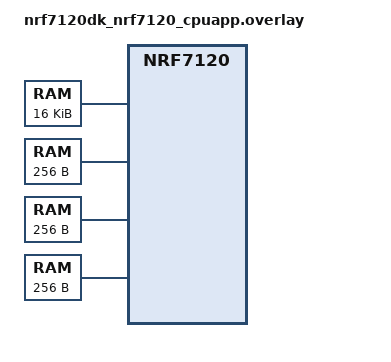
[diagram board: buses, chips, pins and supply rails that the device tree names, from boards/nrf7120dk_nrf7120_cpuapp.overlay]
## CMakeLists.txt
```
#
# Copyright (c) 2026 Nordic Semiconductor ASA
#
# SPDX-License-Identifier: LicenseRef-Nordic-5-Clause
#

cmake_minimum_required(VERSION 3.20.0)

# west build -- -Dapp_EXTRA_CONF_FILE=<path>/prj_swd_only.conf
set(NWRT_SWD_ONLY_BUILD OFF CACHE BOOL "No Wi-Fi driver; shadow protocol test only")

if(NWRT_SWD_ONLY_BUILD)
  list(APPEND EXTRA_CONF_FILE ${CMAKE_CURRENT_SOURCE_DIR}/prj_swd_only.conf)
endif()

find_package(Zephyr REQUIRED HINTS $ENV{ZEPHYR_BASE})
project(nwrt)

set(NRF71_WIFI ${ZEPHYR_NRF_MODULE_DIR}/drivers/wifi/nrf71)

# if(NOT CONFIG_NWRT_SWD_ONLY)
#   include(${WEST_TOPDIR}/test_utilities/nrf71/phy/radio_test/extn_cmds/CMakeLists.txt)
# endif()

target_include_directories(app PRIVATE include)

target_sources(app PRIVATE
  src/main.c
  src/nwrt_shadow.c
)

if(CONFIG_NWRT_SWD_ONLY)
  target_sources(app PRIVATE src/nwrt_conf_mock.c)
  target_include_directories(app PRIVATE
    ${NRF71_WIFI}/osal/os_if/inc
    ${NRF71_WIFI}/osal/fw_if/umac_if/inc
    ${NRF71_WIFI}/osal/hw_if/hal/inc
    ${NRF71_WIFI}/osal/bus_if/bal/inc
    ${NRF71_WIFI}/osal/bus_if/bus/qspi/inc
    ${NRF71_WIFI}/utils/inc
    ${NRF71_WIFI}/fw_if
    ${ZEPHYR_NRF_MODULE_DIR}/include/drivers/wifi/nrf71
  )
else()
  target_sources(app PRIVATE src/nwrt_conf.c)
  target_link_libraries(app PRIVATE
    nrf71_wifi_radio_test_headers
#    test_utilities_radio_test_extn_headers
  )
endif()
```

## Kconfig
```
# Copyright (c) 2026 Nordic Semiconductor ASA
# SPDX-License-Identifier: LicenseRef-Nordic-5-Clause

mainmenu "nWRT application"

config NWRT_SWD_ONLY
	bool "SWD-only mode (no Wi-Fi driver init)"
	help
	  Skip nRF71 Wi-Fi driver bring-up. main() runs the shadow poll loop
	  immediately so the host can exercise submit/ack/result over J-Link.
	  RF commands complete with result -19 (NODEV); invalid submits return -22.

source "Kconfig.zephyr"
```

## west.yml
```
# Copyright (c) 2026 Nordic Semiconductor ASA
# SPDX-License-Identifier: Apache-2.0

manifest:
  version: 0.13

  remotes:
    - name: ncs
      url-base: https://github.com/nrfconnect

    - name: nordic-bb
      url-base: ssh://git@bitbucket.nordicsemi.no:7999

  self:
    path: nWRT

  projects:
    - name: nrf
      remote: ncs
      repo-path: sdk-nrf
      revision: main
      import: true
```

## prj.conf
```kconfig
#
# Copyright (c) 2026 Nordic Semiconductor ASA
#
# SPDX-License-Identifier: LicenseRef-Nordic-5-Clause
#

# nRF71 Wi-Fi driver in radio-test mode
CONFIG_WIFI=y
CONFIG_WIFI_NRF71=y
CONFIG_NRF71_RADIO_TEST=y

# Memories
CONFIG_MAIN_STACK_SIZE=5200
CONFIG_HEAP_MEM_POOL_SIZE=65536
CONFIG_NRF_WIFI_CTRL_HEAP_SIZE=78304

# Debugging
CONFIG_STACK_SENTINEL=y

# No console logging (production test uses SWD shadow only)
CONFIG_LOG=n
CONFIG_PRINTK=n
```

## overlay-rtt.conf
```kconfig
#
# Copyright (c) 2026 Nordic Semiconductor ASA
#
# SPDX-License-Identifier: LicenseRef-Nordic-5-Clause
#
# Route console and logging over SEGGER RTT so logs can be read with an RTT
# client (e.g. JLinkRTTClient/JLinkRTTLogger) over the on-board J-Link,
# without attaching a debugger. Layer this on top of prj.conf:
#
#   west build -b nrf7120dk/nrf7120/cpuapp -- -DEXTRA_CONF_FILE=overlay-rtt.conf
#

# Re-enable logging and printk (prj.conf turns them off for the SWD-only test).
CONFIG_LOG=y
CONFIG_PRINTK=y
CONFIG_CONSOLE=y

# SEGGER RTT transport.
CONFIG_USE_SEGGER_RTT=y

# printk()/console output over RTT instead of UART.
CONFIG_RTT_CONSOLE=y
CONFIG_UART_CONSOLE=n

# LOG_* macros go straight to RTT via the dedicated RTT log backend, not
# through the shell. Stop the shell from claiming the log output so the two do
# not fight over it; the interactive shell stays on its default UART backend.
CONFIG_LOG_BACKEND_RTT=y
CONFIG_LOG_BACKEND_UART=n
CONFIG_SHELL_LOG_BACKEND=n

# Give RTT enough headroom so bursts of Wi-Fi/radio-test logs are not dropped.
CONFIG_SEGGER_RTT_BUFFER_SIZE_UP=4096
```

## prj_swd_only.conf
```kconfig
#
# Copyright (c) 2026 Nordic Semiconductor ASA
#
# SPDX-License-Identifier: LicenseRef-Nordic-5-Clause
#

# SWD shadow protocol test, no nRF71 Wi-Fi driver linked or initialized.
CONFIG_NWRT_SWD_ONLY=y
CONFIG_WIFI=n

CONFIG_MAIN_STACK_SIZE=4096
CONFIG_HEAP_MEM_POOL_SIZE=8192
```

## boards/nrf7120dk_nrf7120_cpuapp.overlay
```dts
/*
 * Copyright (c) 2026 Nordic Semiconductor ASA
 *
 * SPDX-License-Identifier: LicenseRef-Nordic-5-Clause
 *
 * nwrt_rx_cap @ 0x2007b000 (16 KiB).
 * Shadow blocks @ 0x2007f000, 0x2007f100, 0x2007f200 (0x100 stride each, 4 KiB area).
 */

/ {
	nwrt_rx_cap_sram: memory@2007b000 {
		compatible = "zephyr,memory-region", "mmio-sram";
		reg = <0x2007b000 DT_SIZE_K(16)>;
		zephyr,memory-region = "NWRT_RX_CAP";
		status = "okay";
	};

	nwrt_shadow_common_sram: memory@2007f000 {
		compatible = "zephyr,memory-region", "mmio-sram";
		reg = <0x2007f000 0x100>;
		zephyr,memory-region = "NWRT_SHADOW_COMMON";
		status = "okay";
	};

	nwrt_shadow_tx_sram: memory@2007f100 {
		compatible = "zephyr,memory-region", "mmio-sram";
		reg = <0x2007f100 0x100>;
		zephyr,memory-region = "NWRT_SHADOW_TX";
		status = "okay";
	};

	nwrt_shadow_rx_sram: memory@2007f200 {
		compatible = "zephyr,memory-region", "mmio-sram";
		reg = <0x2007f200 0x100>;
		zephyr,memory-region = "NWRT_SHADOW_RX";
		status = "okay";
	};
};

&cpuapp_sram {
	reg = <0x20000000 DT_SIZE_K(492)>;
	ranges = <0x0 0x20000000 DT_SIZE_K(492)>;
};
```

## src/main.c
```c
/*
 * Copyright (c) 2026 Nordic Semiconductor ASA
 *
 * SPDX-License-Identifier: LicenseRef-Nordic-5-Clause
 */

/* @file
 * @brief nWRT - Wi-Fi radio test with SWD shadow control.
 *
 * The nRF71 Wi-Fi driver brings up FMAC/RPU at init. This app polls nwrt_shadow
 * from main (including while waiting for rpu_ctx). Host writes params + submit
 * (pending low 16 bits; optional seq high 16 bits for lab debug); firmware
 * applies and runs FMAC calls when RPU is ready.
 */

#include <nwrt_conf.h>
#include <nwrt_shadow.h>
#include <zephyr/kernel.h>

#define NWRT_RPU_READY_TIMEOUT_MS 30000

#if !defined(CONFIG_NWRT_SWD_ONLY)
static void nwrt_wait_rpu_ready(void)
{
    int64_t deadline = k_uptime_get() + NWRT_RPU_READY_TIMEOUT_MS;

    while (k_uptime_get() < deadline)
    {
        nwrt_shadow_poll();

        if (nwrt_fmac_dev_ctx() != NULL)
        {
            return;
        }

        k_msleep(10);
    }
}
#endif /* !CONFIG_NWRT_SWD_ONLY */

int main(void)
{
    /* Shadow is initialized at PRE_KERNEL_2; re-init here would race the poll
     * in nwrt_wait_rpu_ready() and drop an early host command.
     */
#if !defined(CONFIG_NWRT_SWD_ONLY)
    nwrt_wait_rpu_ready();
#endif

    for (;;)
    {
        nwrt_shadow_poll();
    }
}
```

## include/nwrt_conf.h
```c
/*
 * Copyright (c) 2026 Nordic Semiconductor ASA
 *
 * SPDX-License-Identifier: LicenseRef-Nordic-5-Clause
 */

/**
 * @file nwrt_conf.h
 * @brief Driver conf access and FMAC wrappers for nRF71 radio-test.
 *
 * Live configuration and driver context come from the Zephyr nRF71 radio-test
 * driver (@c rt_drv_priv). Shadow handlers copy host-written params here, then call
 * the @c nwrt_wifi_rt_fmac_* wrappers below.
 */

#ifndef NWRT_CONF_H__
#define NWRT_CONF_H__

#include <radio_test/fmac_api.h>
#include <radio_test/fmac_structs.h>
#include <stdbool.h>
#include <stdint.h>

#if defined(CONFIG_NWRT_SWD_ONLY)
#include <zephyr/kernel.h>

struct nrf_wifi_fmac_dev_ctx;

/** Minimal context for SWD-only builds (no nRF71 Wi-Fi driver). */
struct nrf_wifi_ctx_zep
{
    struct rpu_conf_params conf_params;
    bool                   rf_test_run;
    unsigned char          rf_test;
    struct k_mutex         rpu_lock;
};
#else
#include <radio_test/core.h>
#endif /* CONFIG_NWRT_SWD_ONLY */

/**
 * @brief Pointer to live radio-test configuration in the Wi-Fi driver.
 *
 * @return Address of @c rt_drv_priv.drv_ctx.conf_params.
 */
struct rpu_conf_params * nwrt_conf_params(void);

/**
 * @brief Pointer to the FMAC device context, or @c NULL before RPU bring-up.
 *
 * @return @c rpu_ctx from the Zephyr Wi-Fi driver, or @c NULL if not ready.
 */
struct nrf_wifi_fmac_dev_ctx * nwrt_fmac_dev_ctx(void);

/**
 * @brief Pointer to the Zephyr Wi-Fi driver context (includes RPU mutex).
 *
 * @return Address of @c rt_drv_priv.drv_ctx.
 */
#if defined(CONFIG_NWRT_SWD_ONLY)
struct nrf_wifi_ctx_zep * nwrt_wifi_ctx(void);
#else
struct nrf_wifi_rt_drv_ctx * nwrt_wifi_ctx(void);
#endif

/**
 * @brief Reset @c rpu_conf_params to radio-test defaults.
 *
 * Sets @c op_mode to @c RPU_OP_MODE_RADIO_TEST, loads RF/VTF addresses from FMAC,
 * and applies factory-style TX/RX defaults. Preserves country code if already set.
 *
 * @return @c NRF_WIFI_STATUS_SUCCESS on success.
 */
enum nrf_wifi_status nwrt_conf_init_defaults(void);

/**
 * @brief Initialize RF test mode on the given band and channel.
 *
 * Calls @ref nwrt_conf_init_defaults(), sets @c chan from @p band_idx and
 * @p channel, then invokes @c nrf_wifi_rt_fmac_radio_test_init().
 *
 * @param band_idx Band index: @c 0 = 2.4 GHz, @c 1 = 5 GHz, @c 2 = 6 GHz
 *                 (@c op_band = @c 1 << band_idx).
 * @param channel  Primary channel number valid for the selected band.
 *
 * @return @c NRF_WIFI_STATUS_SUCCESS on success.
 */
enum nrf_wifi_status nwrt_radio_test_init(uint8_t band_idx, uint32_t channel);

/**
 * @brief Check whether no RF test operation is currently active.
 *
 * @return @c true if TX, RX, and @c rf_test_run are all idle; @c false otherwise.
 */
bool nwrt_conf_idle(void);

/**
 * @brief Start or stop programmed packet TX (FMAC radio-test API).
 *
 * @param fmac_dev_ctx FMAC device context.
 * @param params       Radio-test configuration (@ref nwrt_conf_params()).
 *
 * @return @c NRF_WIFI_STATUS_SUCCESS on success.
 */
enum nrf_wifi_status nwrt_wifi_rt_fmac_prog_tx(struct nrf_wifi_fmac_dev_ctx * fmac_dev_ctx,
                                               struct rpu_conf_params *       params);

/**
 * @brief Start or stop programmed RX (FMAC radio-test API).
 *
 * @param fmac_dev_ctx FMAC device context.
 * @param params       Radio-test configuration (@ref nwrt_conf_params()).
 *
 * @return @c NRF_WIFI_STATUS_SUCCESS on success.
 */
enum nrf_wifi_status nwrt_wifi_rt_fmac_prog_rx(struct nrf_wifi_fmac_dev_ctx * fmac_dev_ctx,
                                               struct rpu_conf_params *       params);

/**
 * @brief Run an RX capture into a host-visible buffer (FMAC radio-test API).
 *
 * @param fmac_dev_ctx   FMAC device context.
 * @param rf_test_type   Capture type (@c enum nrf_wifi_rf_test).
 * @param cap_data       Sample buffer (e.g. @ref nwrt_rx_cap_buf).
 * @param num_samples    Number of samples to capture.
 * @param capture_timeout Capture timeout (driver units).
 * @param lna_gain       LNA gain.
 * @param bb_gain        Baseband gain.
 * @param timeout_status Output: driver timeout status byte.
 *
 * @return @c NRF_WIFI_STATUS_SUCCESS on success.
 */
enum nrf_wifi_status nwrt_wifi_rt_fmac_rf_test_rx_cap(struct nrf_wifi_fmac_dev_ctx * fmac_dev_ctx,
                                                      enum nrf_wifi_rf_test          rf_test_type,
                                                      void * cap_data, uint16_t num_samples,
                                                      uint16_t capture_timeout, uint8_t lna_gain,
                                                      uint8_t bb_gain, uint8_t * timeout_status);

/**
 * @brief Enable or disable CW tone TX (FMAC radio-test API).
 *
 * @param fmac_dev_ctx FMAC device context.
 * @param enable       @c 1 to enable tone, @c 0 to disable.
 * @param tone_freq    Tone frequency offset.
 * @param tx_power     TX power for the tone.
 *
 * @return @c NRF_WIFI_STATUS_SUCCESS on success.
 */
enum nrf_wifi_status nwrt_wifi_rt_fmac_rf_test_tx_tone(struct nrf_wifi_fmac_dev_ctx * fmac_dev_ctx,
                                                       uint8_t enable, int8_t tone_freq,
                                                       int8_t tx_power);

/**
 * @brief Read RX/TX statistics for the current RF test session (FMAC API).
 *
 * @param fmac_dev_ctx FMAC device context.
 * @param op_mode      RPU operation mode (typically @c RPU_OP_MODE_RADIO_TEST).
 * @param stats        Output statistics structure.
 *
 * @return @c NRF_WIFI_STATUS_SUCCESS on success.
 */
enum nrf_wifi_status nwrt_wifi_rt_fmac_stats_get(struct nrf_wifi_fmac_dev_ctx * fmac_dev_ctx,
                                                 enum rpu_op_mode               op_mode,
                                                 struct rpu_rt_op_stats *       stats);

#endif /* NWRT_CONF_H__ */
```

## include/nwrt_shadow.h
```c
/*
 * Copyright (c) 2026 Nordic Semiconductor ASA
 *
 * SPDX-License-Identifier: LicenseRef-Nordic-5-Clause
 */

/**
 * @file nwrt_shadow.h
 * @brief SWD host control: common, TX, and RX blocks at fixed DT addresses.
 *
 * Three shadow blocks plus an RX capture buffer are placed in devicetree-reserved
 * SRAM. The host writes 32-bit words over SWD, then writes @c submit (packed
 * @c pending + @c seq). Firmware polls from @ref nwrt_shadow_poll(),
 * executes the request, and writes @c result and @c ack.
 *
 * Submit layout (v8): @c pending in bits [15:0], @c seq in bits [31:16].
 *
 * Runtime host modes (same firmware image):
 * - ATE: write @c pending only (seq=0), poll @c submit until 0 or @c result until
 *   not @ref NWRT_SHADOW_RESULT_RUNNING.
 * - Lab: write @c seq << 16 | pending, poll @c ack == seq, read @c result.
 *
 * Absolute field addresses: README-SWD.md.
 */

#ifndef NWRT_SHADOW_H__
#define NWRT_SHADOW_H__

#include <radio_test/fmac_structs.h>
#include <stdint.h>

#if defined(__ZEPHYR__)
#include <zephyr/devicetree.h>

///< Common block base (DT).
#define NWRT_SHADOW_COMMON_BASE DT_REG_ADDR(DT_NODELABEL(nwrt_shadow_common_sram))
#define NWRT_SHADOW_TX_BASE     DT_REG_ADDR(DT_NODELABEL(nwrt_shadow_tx_sram)) ///< TX block base (DT).
#define NWRT_SHADOW_RX_BASE     DT_REG_ADDR(DT_NODELABEL(nwrt_shadow_rx_sram)) ///< RX block base (DT).
///< RX capture buffer base (DT).
#define NWRT_RX_CAP_BASE DT_REG_ADDR(DT_NODELABEL(nwrt_rx_cap_sram))
///< RX capture buffer size in bytes (DT).
#define NWRT_RX_CAP_SIZE DT_REG_SIZE(DT_NODELABEL(nwrt_rx_cap_sram))
#else
#define NWRT_SHADOW_COMMON_BASE 0x2007f000U   ///< Common block base (nrf7120dk default).
#define NWRT_SHADOW_TX_BASE     0x2007f100U   ///< TX block base (nrf7120dk default).
#define NWRT_SHADOW_RX_BASE     0x2007f200U   ///< RX block base (nrf7120dk default).
#define NWRT_RX_CAP_BASE        0x2007b000U   ///< RX capture buffer base (nrf7120dk default).
#define NWRT_RX_CAP_SIZE        (16U * 1024U) ///< RX capture buffer size in bytes (default).
#endif

///< Size of each shadow block slot in SRAM.
#define NWRT_SHADOW_BLOCK_SIZE 0x100U
///< Max capture samples (3 bytes per sample).
#define NWRT_RX_CAP_MAX_SAMPLES (NWRT_RX_CAP_SIZE / 3U)

#define NWRT_SHADOW_MAGIC   0x4e575254U ///< Shadow layout magic word ("NWRT").
#define NWRT_SHADOW_VERSION 8U          ///< Shadow protocol version; must match common.version.

#define NWRT_SHADOW_ERR_INVAL (-22) ///< result: invalid request, bad magic/version, or bad params.
#define NWRT_SHADOW_ERR_BUSY  (-16) ///< result: RF test path busy (TX/RX/tone/capture active).
#define NWRT_SHADOW_ERR_NODEV (-19) ///< result: FMAC/RPU device context not ready.
#define NWRT_SHADOW_ERR_IO    (-5)  ///< result: FMAC or driver call failed.

/** result: command accepted and still running (ATE poll until not this value). */
#define NWRT_SHADOW_RESULT_RUNNING (-256)

///< Low 16 bits of @c submit: @c NWRT_*_PENDING_* flags.
#define NWRT_SHADOW_SUBMIT_PENDING_MASK 0xFFFFU
///< Bit shift of @c seq in @c submit.
#define NWRT_SHADOW_SUBMIT_SEQ_SHIFT 16U

/** Pack pending flags and seq into one @c submit word (host writes once). */
#define NWRT_SHADOW_SUBMIT_MAKE(pending, seq)                                 \
    (((uint32_t)(pending) & NWRT_SHADOW_SUBMIT_PENDING_MASK) |                \
     (((uint32_t)(seq) & 0xFFFFU) << NWRT_SHADOW_SUBMIT_SEQ_SHIFT))

/** Pending flags from @c submit (low 16 bits). */
#define NWRT_SHADOW_SUBMIT_PENDING(submit) \
    ((uint32_t)(submit) & NWRT_SHADOW_SUBMIT_PENDING_MASK)

/** Seq from @c submit (high 16 bits). Zero selects ATE-style auto-seq. */
#define NWRT_SHADOW_SUBMIT_SEQ(submit) \
    (((uint32_t)(submit) >> NWRT_SHADOW_SUBMIT_SEQ_SHIFT) & 0xFFFFU)

/** @name Common block pending flags (low 16 bits of submit) @{ */
///< Load default rpu_conf_params (no radio test init).
#define NWRT_COMMON_PENDING_CONF_INIT  (1U << 0)
#define NWRT_COMMON_PENDING_RADIO_INIT (1U << 1) ///< Enter RF test mode on band_idx / channel.
/** @} */

/** @name TX block pending flags (low 16 bits of submit) @{ */
#define NWRT_TX_PENDING_APPLY (1U << 0) ///< Copy shadow TX params into live rpu_conf_params.
#define NWRT_TX_PENDING_PROG  (1U << 1) ///< Start or stop packet TX (enable_tx).
#define NWRT_TX_PENDING_TONE  (1U << 2) ///< Start or stop CW tone TX (tx_tone, tx_tone_freq).
/** @} */

/** @name RX block pending flags (low 16 bits of submit) @{ */
#define NWRT_RX_PENDING_APPLY  (1U << 0) ///< Copy shadow RX params into live rpu_conf_params.
#define NWRT_RX_PENDING_PROG   (1U << 1) ///< Start or stop RX (enable_rx).
#define NWRT_RX_PENDING_STATS  (1U << 2) ///< Fetch RX statistics into nwrt_shadow_stats.
#define NWRT_RX_PENDING_RX_CAP (1U << 3) ///< Run RX capture into nwrt_rx_cap_buf.
/** @} */

/** @name RX capture type (nwrt_shadow_rx.rx_cap_type; enum nrf_wifi_rf_test) @{ */
#define NWRT_RX_CAP_TYPE_ADC      0U ///< ADC capture.
#define NWRT_RX_CAP_TYPE_STAT_PKT 1U ///< Static packet capture.
#define NWRT_RX_CAP_TYPE_DYN_PKT  2U ///< Dynamic packet capture.

/** @} */

/**
 * @brief Common shadow block: layout header, control words, and radio-init params.
 *
 * Mapped at @ref NWRT_SHADOW_COMMON_BASE.
 */
struct nwrt_shadow_common
{
    uint32_t magic;    ///< Must be @ref NWRT_SHADOW_MAGIC.
    uint32_t version;  ///< Must be @ref NWRT_SHADOW_VERSION.
    uint32_t submit;   ///< Packed pending (low 16) + seq (high 16); cleared to 0 when done.
    int32_t  result;   ///< 0 on success, @ref NWRT_SHADOW_RESULT_RUNNING while busy, else error.
    uint32_t ack;      ///< Last processed seq (lab debug: poll until ack == seq from submit).
    uint32_t band_idx; ///< For RADIO_INIT: 0 = 2.4 GHz, 1 = 5 GHz, 2 = 6 GHz.
    uint32_t channel;  ///< Primary channel number for RADIO_INIT.
};

/**
 * @brief TX shadow block: control words and packet/tone TX parameters.
 *
 * Mapped at @ref NWRT_SHADOW_TX_BASE.
 */
struct nwrt_shadow_tx
{
    uint32_t submit;           ///< Packed pending (low 16) + seq (high 16).
    int32_t  result;           ///< Completion status (see nwrt_shadow_common.result).
    uint32_t ack;              ///< Last processed seq.
    uint32_t tx_power;         ///< TX power (driver units; applied on APPLY).
    int32_t  tx_tone_freq;     ///< CW tone frequency offset.
    uint32_t tx_pkt_len;       ///< Packet length in bytes.
    int32_t  tx_pkt_num;       ///< Number of packets; -1 for continuous.
    int32_t  tx_pkt_mcs;       ///< MCS index for packet TX.
    int32_t  tx_pkt_rate;      ///< Legacy rate index for packet TX.
    uint32_t tx_pkt_tput_mode; ///< Throughput test mode selector.
    uint32_t enable_tx;        ///< 1 to start packet TX, 0 to stop (PROG pending).
    uint32_t tx_tone;          ///< 1 to enable CW tone, 0 to disable (TONE pending).
};

/**
 * @brief RX shadow block: control words, capture params, and readback fields.
 *
 * Mapped at @ref NWRT_SHADOW_RX_BASE. Capture samples land in @ref nwrt_rx_cap_buf.
 */
struct nwrt_shadow_rx
{
    uint32_t submit;             ///< Packed pending (low 16) + seq (high 16).
    int32_t  result;             ///< Completion status (see nwrt_shadow_common.result).
    uint32_t ack;                ///< Last processed seq.
    uint32_t cap_timeout_status; ///< Set after RX_CAP (driver timeout status).
    uint32_t lna_gain;           ///< LNA gain for RX capture.
    uint32_t bb_gain;            ///< Baseband gain for RX capture.
    uint32_t capture_length;     ///< Sample count to capture (@ref NWRT_RX_CAP_MAX_SAMPLES max).
    uint32_t capture_timeout;    ///< Capture timeout in driver units.
    uint32_t enable_rx;          ///< 1 to start RX, 0 to stop (PROG pending).
    uint32_t rx_cap_type;        ///< @ref NWRT_RX_CAP_TYPE_ADC, STAT_PKT, or DYN_PKT.
};

/** Common shadow instance in DT-reserved SRAM (@ref NWRT_SHADOW_COMMON_BASE). */
extern struct nwrt_shadow_common nwrt_shadow_common;
/** TX shadow instance in DT-reserved SRAM (@ref NWRT_SHADOW_TX_BASE). */
extern struct nwrt_shadow_tx nwrt_shadow_tx;
/** RX shadow instance in DT-reserved SRAM (@ref NWRT_SHADOW_RX_BASE). */
extern struct nwrt_shadow_rx nwrt_shadow_rx;
/** RX statistics buffer filled by @ref NWRT_RX_PENDING_STATS. */
extern struct rpu_rt_op_stats nwrt_shadow_stats;
/** RX capture sample buffer (@ref NWRT_RX_CAP_BASE, @ref NWRT_RX_CAP_SIZE bytes). */
extern uint8_t nwrt_rx_cap_buf[NWRT_RX_CAP_SIZE];

/**
 * @brief Initialize all shadow blocks and capture buffer defaults.
 *
 * Clears structures, fills param defaults, sets @c magic and @c version on common.
 * Called once at @c PRE_KERNEL_2 (see @c nwrt_shadow_boot_init), before @c main()
 * starts polling. Does not touch the Wi-Fi driver.
 */
void nwrt_shadow_init(void);

/**
 * @brief Process pending host requests on common, TX, and RX blocks.
 *
 * Call from the main loop after RPU/FMAC is ready. For each block with a new
 * @c submit, runs the pending handlers, clears @c submit to 0, and updates
 * @c result and @c ack.
 */
void nwrt_shadow_poll(void);

#endif /* NWRT_SHADOW_H__ */
```

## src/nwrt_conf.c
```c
/*
 * Copyright (c) 2026 Nordic Semiconductor ASA
 *
 * SPDX-License-Identifier: LicenseRef-Nordic-5-Clause
 */

#include <common/fw_if/nrf71_wifi_rf.h>
#include <nwrt_conf.h>
#include <string.h>

enum nrf_wifi_status nwrt_conf_init_defaults(void)
{
    enum nrf_wifi_status           status                                  = NRF_WIFI_STATUS_FAIL;
    struct rpu_conf_params *       conf                                    = nwrt_conf_params();
    struct nrf_wifi_fmac_dev_ctx * dev                                     = nwrt_fmac_dev_ctx();
    uint8_t                        country_code[NRF_WIFI_COUNTRY_CODE_LEN] = {0};

    if (dev == NULL)
    {
        return NRF_WIFI_STATUS_FAIL;
    }

    if (strlen(conf->country_code))
    {
        memcpy(country_code, conf->country_code, NRF_WIFI_COUNTRY_CODE_LEN);
    }

    memset(conf, 0, sizeof(*conf));

    conf->op_mode = RPU_OP_MODE_RADIO_TEST;

    {
        uint32_t rf_params_tmp[NUM_WIFI_PARAMS];
        uint32_t vtf_addr_tmp;

        status = nrf_wifi_fmac_config_rf_params(dev, (unsigned int *)rf_params_tmp);
        if (status != NRF_WIFI_STATUS_SUCCESS)
        {
            goto out;
        }

        memcpy(conf->rf_params_addr, rf_params_tmp, sizeof(conf->rf_params_addr));

        status = nrf_wifi_fmac_config_vtf_params(dev, 243, 25, 0, (unsigned int *)&vtf_addr_tmp);
        if (status != NRF_WIFI_STATUS_SUCCESS)
        {
            goto out;
        }

        conf->vtf_buffer_addr = vtf_addr_tmp;
    }

    conf->tx_pkt_nss             = 1;
    conf->tx_pkt_gap_us          = 0;
    conf->tx_power               = MAX_TX_PWR_SYS_TEST;
    conf->chan.primary_num       = 1;
    conf->tx_mode                = 1;
    conf->tx_pkt_num             = -1;
    conf->tx_pkt_len             = 1400;
    conf->tx_pkt_preamble        = 0;
    conf->tx_pkt_rate            = 6;
    conf->he_ltf                 = 2;
    conf->he_gi                  = 2;
    conf->aux_adc_input_chain_id = 1;
    conf->ru_tone                = 26;
    conf->ru_index               = 1;
    conf->tx_pkt_cw              = 15;
    conf->phy_calib              = NRF_WIFI_DEF_PHY_CALIB;

    if (strlen(country_code))
    {
        memcpy(conf->country_code, country_code, NRF_WIFI_COUNTRY_CODE_LEN);
    }
    else
    {
        memcpy(conf->country_code, "00", NRF_WIFI_COUNTRY_CODE_LEN);
    }

out:
    return status;
}

enum nrf_wifi_status nwrt_radio_test_init(uint8_t band_idx, uint32_t channel)
{
    enum nrf_wifi_status           status;
    struct rpu_conf_params *       conf = nwrt_conf_params();
    struct nrf_wifi_fmac_dev_ctx * dev  = nwrt_fmac_dev_ctx();

    if (dev == NULL)
    {
        return NRF_WIFI_STATUS_FAIL;
    }

    status = nwrt_conf_init_defaults();
    if (status != NRF_WIFI_STATUS_SUCCESS)
    {
        return status;
    }

    conf->chan.op_band     = (unsigned char)(1U << band_idx);
    conf->chan.primary_num = (unsigned int)channel;

    return nrf_wifi_rt_fmac_radio_test_init(dev, conf);
}

struct rpu_conf_params * nwrt_conf_params(void)
{
    return &rt_drv_priv.drv_ctx.conf_params;
}

struct nrf_wifi_fmac_dev_ctx * nwrt_fmac_dev_ctx(void)
{
    return rt_drv_priv.drv_ctx.rpu_ctx;
}

struct nrf_wifi_rt_drv_ctx * nwrt_wifi_ctx(void)
{
    return &rt_drv_priv.drv_ctx;
}

bool nwrt_conf_idle(void)
{
    struct nrf_wifi_rt_drv_ctx * ctx = nwrt_wifi_ctx();

    if (ctx->conf_params.rx || ctx->conf_params.tx || ctx->rf_test_run)
    {
        return false;
    }

    return true;
}

enum nrf_wifi_status nwrt_wifi_rt_fmac_prog_tx(struct nrf_wifi_fmac_dev_ctx * fmac_dev_ctx,
                                               struct rpu_conf_params *       params)
{
    return nrf_wifi_rt_fmac_prog_tx(fmac_dev_ctx, params);
}

enum nrf_wifi_status nwrt_wifi_rt_fmac_prog_rx(struct nrf_wifi_fmac_dev_ctx * fmac_dev_ctx,
                                               struct rpu_conf_params *       params)
{
    return nrf_wifi_rt_fmac_prog_rx(fmac_dev_ctx, params);
}

enum nrf_wifi_status nwrt_wifi_rt_fmac_rf_test_rx_cap(struct nrf_wifi_fmac_dev_ctx * fmac_dev_ctx,
                                                      enum nrf_wifi_rf_test          rf_test_type,
                                                      void * cap_data, uint16_t num_samples,
                                                      uint16_t capture_timeout, uint8_t lna_gain,
                                                      uint8_t bb_gain, uint8_t * timeout_status)
{
    struct rpu_conf_params * conf = nwrt_conf_params();

    return nrf_wifi_rt_fmac_rf_test_rx_cap(fmac_dev_ctx, rf_test_type, cap_data, num_samples,
                                           capture_timeout, lna_gain, bb_gain,
                                           conf->ed_thresh_ofdm, conf->ed_thresh_dsss,
                                           timeout_status);
}

enum nrf_wifi_status nwrt_wifi_rt_fmac_rf_test_tx_tone(struct nrf_wifi_fmac_dev_ctx * fmac_dev_ctx,
                                                       uint8_t enable, int8_t tone_freq,
                                                       int8_t tx_power)
{
    struct rpu_conf_params * conf = nwrt_conf_params();

    return nrf_wifi_rt_fmac_rf_test_tx_tone(fmac_dev_ctx, enable, tone_freq, tx_power,
                                            conf->tx_tone_type, conf->tx_tone_dc_offset_i,
                                            conf->tx_tone_dc_offset_q);
}

enum nrf_wifi_status nwrt_wifi_rt_fmac_stats_get(struct nrf_wifi_fmac_dev_ctx * fmac_dev_ctx,
                                                 enum rpu_op_mode               op_mode,
                                                 struct rpu_rt_op_stats *       stats)
{
    return nrf_wifi_rt_fmac_stats_get(fmac_dev_ctx, op_mode, stats);
}
```

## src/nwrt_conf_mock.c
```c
/*
 * Copyright (c) 2026 Nordic Semiconductor ASA
 *
 * SPDX-License-Identifier: LicenseRef-Nordic-5-Clause
 */

/* @file
 * @brief SWD-only mock of nwrt_conf.c (CONFIG_NWRT_SWD_ONLY).
 *
 * Provides the same nwrt_conf_* / nwrt_wifi_rt_fmac_* API as nwrt_conf.c but
 * without linking the nRF71 Wi-Fi driver (CONFIG_WIFI=n). Shadow handlers in
 * nwrt_shadow.c stay unchanged; shadow writes via nwrt_conf_params() into a
 * local rpu_conf_params, FMAC calls return FAIL, and nwrt_fmac_dev_ctx() is NULL
 * so radio commands surface -19 (NODEV).
 *
 * Build with prj_swd_only.conf (see README-SWD.md).
 */

#include <nwrt_conf.h>
#include <string.h>
#include <zephyr/init.h>
#include <zephyr/kernel.h>

static struct nrf_wifi_ctx_zep nwrt_mock_ctx;

static enum nrf_wifi_status nwrt_mock_fail(void)
{
    return NRF_WIFI_STATUS_FAIL;
}

enum nrf_wifi_status nwrt_conf_init_defaults(void)
{
    memset(&nwrt_mock_ctx.conf_params, 0, sizeof(nwrt_mock_ctx.conf_params));
    nwrt_mock_ctx.conf_params.op_mode = RPU_OP_MODE_RADIO_TEST;
    memcpy(nwrt_mock_ctx.conf_params.country_code, "00", NRF_WIFI_COUNTRY_CODE_LEN);
    return NRF_WIFI_STATUS_SUCCESS;
}

enum nrf_wifi_status nwrt_radio_test_init(uint8_t band_idx, uint32_t channel)
{
    ARG_UNUSED(band_idx);
    ARG_UNUSED(channel);
    return nwrt_mock_fail();
}

struct rpu_conf_params * nwrt_conf_params(void)
{
    return &nwrt_mock_ctx.conf_params;
}

struct nrf_wifi_fmac_dev_ctx * nwrt_fmac_dev_ctx(void)
{
    return NULL;
}

struct nrf_wifi_ctx_zep * nwrt_wifi_ctx(void)
{
    return &nwrt_mock_ctx;
}

bool nwrt_conf_idle(void)
{
    return true;
}

enum nrf_wifi_status nwrt_wifi_rt_fmac_prog_tx(struct nrf_wifi_fmac_dev_ctx * fmac_dev_ctx,
                                               struct rpu_conf_params *       params)
{
    ARG_UNUSED(fmac_dev_ctx);
    ARG_UNUSED(params);
    return nwrt_mock_fail();
}

enum nrf_wifi_status nwrt_wifi_rt_fmac_prog_rx(struct nrf_wifi_fmac_dev_ctx * fmac_dev_ctx,
                                               struct rpu_conf_params *       params)
{
    ARG_UNUSED(fmac_dev_ctx);
    ARG_UNUSED(params);
    return nwrt_mock_fail();
}

enum nrf_wifi_status nwrt_wifi_rt_fmac_rf_test_rx_cap(struct nrf_wifi_fmac_dev_ctx * fmac_dev_ctx,
                                                      enum nrf_wifi_rf_test          rf_test_type,
                                                      void * cap_data, uint16_t num_samples,
                                                      uint16_t capture_timeout, uint8_t lna_gain,
                                                      uint8_t bb_gain, uint8_t * timeout_status)
{
    ARG_UNUSED(fmac_dev_ctx);
    ARG_UNUSED(rf_test_type);
    ARG_UNUSED(cap_data);
    ARG_UNUSED(num_samples);
    ARG_UNUSED(capture_timeout);
    ARG_UNUSED(lna_gain);
    ARG_UNUSED(bb_gain);
    ARG_UNUSED(timeout_status);
    return nwrt_mock_fail();
}

enum nrf_wifi_status nwrt_wifi_rt_fmac_rf_test_tx_tone(struct nrf_wifi_fmac_dev_ctx * fmac_dev_ctx,
                                                       uint8_t enable, int8_t tone_freq,
                                                       int8_t tx_power)
{
    ARG_UNUSED(fmac_dev_ctx);
    ARG_UNUSED(enable);
    ARG_UNUSED(tone_freq);
    ARG_UNUSED(tx_power);
    return nwrt_mock_fail();
}

enum nrf_wifi_status nwrt_wifi_rt_fmac_stats_get(struct nrf_wifi_fmac_dev_ctx * fmac_dev_ctx,
                                                 enum rpu_op_mode               op_mode,
                                                 struct rpu_rt_op_stats *       stats)
{
    ARG_UNUSED(fmac_dev_ctx);
    ARG_UNUSED(op_mode);
    ARG_UNUSED(stats);
    return nwrt_mock_fail();
}

static int nwrt_mock_init(void)
{
    k_mutex_init(&nwrt_mock_ctx.rpu_lock);
    return 0;
}

SYS_INIT(nwrt_mock_init, POST_KERNEL, 0);
```

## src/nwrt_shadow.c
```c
/*
 * Copyright (c) 2026 Nordic Semiconductor ASA
 *
 * SPDX-License-Identifier: LicenseRef-Nordic-5-Clause
 */

#include <nwrt_conf.h>
#include <nwrt_shadow.h>
#include <string.h>
#include <zephyr/devicetree.h>
#include <zephyr/kernel.h>
#include <zephyr/linker/devicetree_regions.h>
#include <zephyr/sys/barrier.h>

struct nwrt_shadow_common nwrt_shadow_common Z_GENERIC_SECTION(
    LINKER_DT_NODE_REGION_NAME(DT_NODELABEL(nwrt_shadow_common_sram)));

struct nwrt_shadow_tx nwrt_shadow_tx Z_GENERIC_SECTION(
    LINKER_DT_NODE_REGION_NAME(DT_NODELABEL(nwrt_shadow_tx_sram)));

struct nwrt_shadow_rx nwrt_shadow_rx Z_GENERIC_SECTION(
    LINKER_DT_NODE_REGION_NAME(DT_NODELABEL(nwrt_shadow_rx_sram)));

uint8_t nwrt_rx_cap_buf[NWRT_RX_CAP_SIZE] Z_GENERIC_SECTION(
    LINKER_DT_NODE_REGION_NAME(DT_NODELABEL(nwrt_rx_cap_sram)));

struct rpu_rt_op_stats nwrt_shadow_stats;

static uint32_t nwrt_shadow_last_common_seq;
static uint32_t nwrt_shadow_last_tx_seq;
static uint32_t nwrt_shadow_last_rx_seq;

static uint32_t nwrt_shadow_active_common_submit;
static uint32_t nwrt_shadow_active_tx_submit;
static uint32_t nwrt_shadow_active_rx_submit;

static void nwrt_shadow_fill_defaults(void)
{
    nwrt_shadow_common.submit   = 0U;
    nwrt_shadow_common.result   = 0;
    nwrt_shadow_common.ack      = 0U;
    nwrt_shadow_common.band_idx = 0U;
    nwrt_shadow_common.channel  = 1U;

    nwrt_shadow_tx.submit           = 0U;
    nwrt_shadow_tx.result           = 0;
    nwrt_shadow_tx.ack              = 0U;
    nwrt_shadow_tx.tx_power         = 30U;
    nwrt_shadow_tx.tx_tone_freq     = 0;
    nwrt_shadow_tx.tx_pkt_len       = 1400U;
    nwrt_shadow_tx.tx_pkt_num       = -1;
    nwrt_shadow_tx.tx_pkt_mcs       = 0;
    nwrt_shadow_tx.tx_pkt_rate      = 6;
    nwrt_shadow_tx.tx_pkt_tput_mode = 0U;
    nwrt_shadow_tx.enable_tx        = 0U;
    nwrt_shadow_tx.tx_tone          = 0U;

    nwrt_shadow_rx.submit             = 0U;
    nwrt_shadow_rx.result             = 0;
    nwrt_shadow_rx.ack                = 0U;
    nwrt_shadow_rx.cap_timeout_status = 0U;
    nwrt_shadow_rx.lna_gain           = 0U;
    nwrt_shadow_rx.bb_gain            = 0U;
    nwrt_shadow_rx.capture_length     = 0U;
    nwrt_shadow_rx.capture_timeout    = 0U;
    nwrt_shadow_rx.enable_rx            = 0U;
    nwrt_shadow_rx.rx_cap_type        = NWRT_RX_CAP_TYPE_ADC;
}

void nwrt_shadow_init(void)
{
    __ASSERT((uintptr_t)&nwrt_shadow_common == NWRT_SHADOW_COMMON_BASE,
             "nwrt_shadow_common not at NWRT_SHADOW_COMMON_BASE");
    __ASSERT((uintptr_t)&nwrt_shadow_tx == NWRT_SHADOW_TX_BASE,
             "nwrt_shadow_tx not at NWRT_SHADOW_TX_BASE");
    __ASSERT((uintptr_t)&nwrt_shadow_rx == NWRT_SHADOW_RX_BASE,
             "nwrt_shadow_rx not at NWRT_SHADOW_RX_BASE");

    memset(&nwrt_shadow_common, 0, sizeof(nwrt_shadow_common));
    memset(&nwrt_shadow_tx, 0, sizeof(nwrt_shadow_tx));
    memset(&nwrt_shadow_rx, 0, sizeof(nwrt_shadow_rx));
    nwrt_shadow_fill_defaults();
    nwrt_shadow_common.magic   = NWRT_SHADOW_MAGIC;
    nwrt_shadow_common.version = NWRT_SHADOW_VERSION;
    nwrt_shadow_last_common_seq = 0U;
    nwrt_shadow_last_tx_seq     = 0U;
    nwrt_shadow_last_rx_seq     = 0U;
    nwrt_shadow_active_common_submit = 0U;
    nwrt_shadow_active_tx_submit     = 0U;
    nwrt_shadow_active_rx_submit     = 0U;
}

static int nwrt_shadow_boot_init(void)
{
    nwrt_shadow_init();
    return 0;
}

SYS_INIT(nwrt_shadow_boot_init, PRE_KERNEL_2, 0);

static int32_t shadow_lock(void)
{
    if (nwrt_fmac_dev_ctx() == NULL)
    {
        return NWRT_SHADOW_ERR_NODEV;
    }

    return (int32_t)k_mutex_lock(&nwrt_wifi_ctx()->rpu_lock, K_FOREVER);
}

static void shadow_unlock(void)
{
    k_mutex_unlock(&nwrt_wifi_ctx()->rpu_lock);
}

static bool shadow_layout_valid(void)
{
    return nwrt_shadow_common.magic == NWRT_SHADOW_MAGIC &&
           nwrt_shadow_common.version == NWRT_SHADOW_VERSION;
}

static void shadow_apply_tx(struct rpu_conf_params * conf)
{
    const struct nwrt_shadow_tx * tx = &nwrt_shadow_tx;

    conf->tx_power         = (unsigned int)tx->tx_power;
    conf->tx_tone_freq     = (signed char)tx->tx_tone_freq;
    conf->tx_pkt_len       = (unsigned short)tx->tx_pkt_len;
    conf->tx_pkt_num       = (signed int)tx->tx_pkt_num;
    conf->tx_pkt_mcs       = (signed char)tx->tx_pkt_mcs;
    conf->tx_pkt_rate      = (signed char)tx->tx_pkt_rate;
    conf->tx_pkt_tput_mode = (unsigned char)tx->tx_pkt_tput_mode;
}

static void shadow_apply_rx(struct rpu_conf_params * conf)
{
    const struct nwrt_shadow_rx * rx = &nwrt_shadow_rx;

    conf->lna_gain        = (unsigned char)rx->lna_gain;
    conf->bb_gain         = (unsigned char)rx->bb_gain;
    conf->capture_length  = (unsigned short int)rx->capture_length;
    conf->capture_timeout = (unsigned short int)rx->capture_timeout;
}

static int32_t shadow_do_prog_tx(uint32_t enable)
{
    enum nrf_wifi_status     status;
    struct rpu_conf_params * conf = nwrt_conf_params();

    if (enable > 1U)
    {
        return NWRT_SHADOW_ERR_INVAL;
    }

    if (enable && !nwrt_conf_idle())
    {
        return NWRT_SHADOW_ERR_BUSY;
    }

    conf->tx = (unsigned char)enable;

    status = nwrt_wifi_rt_fmac_prog_tx(nwrt_fmac_dev_ctx(), conf);

    return (status == NRF_WIFI_STATUS_SUCCESS) ? 0 : NWRT_SHADOW_ERR_IO;
}

static int32_t shadow_do_prog_rx(uint32_t enable)
{
    enum nrf_wifi_status     status;
    struct rpu_conf_params * conf = nwrt_conf_params();

    if (enable > 1U)
    {
        return NWRT_SHADOW_ERR_INVAL;
    }

    if (enable && !nwrt_conf_idle())
    {
        return NWRT_SHADOW_ERR_BUSY;
    }

    conf->rx = (unsigned char)enable;

    status = nwrt_wifi_rt_fmac_prog_rx(nwrt_fmac_dev_ctx(), conf);

    return (status == NRF_WIFI_STATUS_SUCCESS) ? 0 : NWRT_SHADOW_ERR_IO;
}

static int32_t shadow_do_rx_cap(void)
{
    enum nrf_wifi_status      status;
#if defined(CONFIG_NWRT_SWD_ONLY)
    struct nrf_wifi_ctx_zep * ctx = nwrt_wifi_ctx();
#else
    struct nrf_wifi_rt_drv_ctx * ctx = nwrt_wifi_ctx();
#endif
    uint32_t                  cap_type    = nwrt_shadow_rx.rx_cap_type;
    uint32_t                  num_samples = nwrt_shadow_rx.capture_length;
    uint32_t                  cap_bytes;
    uint8_t                   timeout_status;

    if (cap_type > NWRT_RX_CAP_TYPE_DYN_PKT)
    {
        return NWRT_SHADOW_ERR_INVAL;
    }

    if (num_samples == 0U || num_samples > NWRT_RX_CAP_MAX_SAMPLES)
    {
        return NWRT_SHADOW_ERR_INVAL;
    }

    if (cap_type == NWRT_RX_CAP_TYPE_DYN_PKT && nwrt_shadow_rx.capture_timeout == 0U)
    {
        return NWRT_SHADOW_ERR_INVAL;
    }

    if (!nwrt_conf_idle())
    {
        return NWRT_SHADOW_ERR_BUSY;
    }

    cap_bytes = num_samples * 3U;
    memset(nwrt_rx_cap_buf, 0, cap_bytes);

    ctx->rf_test_run = true;
    ctx->rf_test     = (unsigned char)cap_type;

    status = nwrt_wifi_rt_fmac_rf_test_rx_cap(
        nwrt_fmac_dev_ctx(), (enum nrf_wifi_rf_test)cap_type, nwrt_rx_cap_buf,
        (uint16_t)num_samples, (uint16_t)nwrt_shadow_rx.capture_timeout,
        (uint8_t)nwrt_shadow_rx.lna_gain, (uint8_t)nwrt_shadow_rx.bb_gain, &timeout_status);

    ctx->rf_test_run = false;
    ctx->rf_test     = NRF_WIFI_RF_TEST_MAX;

    nwrt_shadow_rx.cap_timeout_status = timeout_status;

    if (status != NRF_WIFI_STATUS_SUCCESS)
    {
        return NWRT_SHADOW_ERR_IO;
    }

    return 0;
}

static int32_t shadow_do_tx_tone(uint32_t enable)
{
    enum nrf_wifi_status      status;
#if defined(CONFIG_NWRT_SWD_ONLY)
    struct nrf_wifi_ctx_zep * ctx = nwrt_wifi_ctx();
#else
    struct nrf_wifi_rt_drv_ctx * ctx = nwrt_wifi_ctx();
#endif
    struct rpu_conf_params *  conf      = nwrt_conf_params();
    int8_t                    tone_freq = conf->tx_tone_freq;
    int8_t                    tx_pwr    = (int8_t)conf->tx_power;

    if (enable > 1U)
    {
        return NWRT_SHADOW_ERR_INVAL;
    }

    if (enable && !nwrt_conf_idle())
    {
        return NWRT_SHADOW_ERR_BUSY;
    }

    status =
        nwrt_wifi_rt_fmac_rf_test_tx_tone(nwrt_fmac_dev_ctx(), (uint8_t)enable, tone_freq, tx_pwr);
    if (status != NRF_WIFI_STATUS_SUCCESS)
    {
        return NWRT_SHADOW_ERR_IO;
    }

    if (enable)
    {
        ctx->rf_test_run = true;
        ctx->rf_test     = NRF_WIFI_RF_TEST_TX_TONE;
    }
    else
    {
        ctx->rf_test_run = false;
        ctx->rf_test     = NRF_WIFI_RF_TEST_MAX;
    }

    return 0;
}

static bool shadow_command_new(uint32_t submit, uint32_t active_submit)
{
    if (NWRT_SHADOW_SUBMIT_PENDING(submit) == 0U)
    {
        return false;
    }

    if (submit == active_submit)
    {
        return false;
    }

    return true;
}

static uint32_t shadow_resolve_seq(uint32_t submit, uint32_t * last_seq)
{
    uint32_t seq = NWRT_SHADOW_SUBMIT_SEQ(submit);

    /* seq=0: ATE-style submit (pending only). seq!=0: lab debug (poll ack). */
    if (seq == 0U)
    {
        seq = (*last_seq + 1U) & 0xFFFFU;
        if (seq == 0U)
        {
            seq = 1U;
        }
        return seq;
    }

    return seq;
}

static void shadow_mark_running(int32_t * result)
{
    barrier_dmem_fence_full();
    *result = NWRT_SHADOW_RESULT_RUNNING;
    barrier_dmem_fence_full();
}

static void shadow_complete_slot(uint32_t * submit_word, int32_t * result_word, uint32_t * ack_word,
                                 uint32_t * last_seq, uint32_t * active_submit, uint32_t seq,
                                 int32_t result)
{
    barrier_dmem_fence_full();
    *result_word = result;
    barrier_dmem_fence_full();
    *ack_word       = seq;
    *last_seq       = seq;
    *submit_word    = 0U;
    *active_submit  = 0U;
}

static void shadow_process_slot(uint32_t * submit_word, int32_t * result_word, uint32_t * ack_word,
                                uint32_t * last_seq, uint32_t * active_submit,
                                int32_t (*dispatch)(uint32_t pending), bool check_layout)
{
    uint32_t submit  = *submit_word;
    uint32_t pending = NWRT_SHADOW_SUBMIT_PENDING(submit);
    uint32_t seq;
    int32_t  lock_rc;
    int32_t  result = NWRT_SHADOW_ERR_INVAL;

    if (!shadow_command_new(submit, *active_submit))
    {
        return;
    }

    seq = shadow_resolve_seq(submit, last_seq);

    if (check_layout && !shadow_layout_valid())
    {
        goto complete;
    }

    *active_submit = submit;
    shadow_mark_running(result_word);

    lock_rc = shadow_lock();
    if (lock_rc != 0)
    {
        result = lock_rc;
        goto complete;
    }

    result = dispatch(pending);

    shadow_unlock();

complete:
    shadow_complete_slot(submit_word, result_word, ack_word, last_seq, active_submit, seq, result);
}

static int32_t shadow_dispatch_common(uint32_t pending)
{
    enum nrf_wifi_status status;

    if (pending & NWRT_COMMON_PENDING_CONF_INIT)
    {
        if (!nwrt_conf_idle())
        {
            return NWRT_SHADOW_ERR_BUSY;
        }

        status = nwrt_conf_init_defaults();
        if (status != NRF_WIFI_STATUS_SUCCESS)
        {
            return NWRT_SHADOW_ERR_IO;
        }
    }

    if (pending & NWRT_COMMON_PENDING_RADIO_INIT)
    {
        if (!nwrt_conf_idle())
        {
            return NWRT_SHADOW_ERR_BUSY;
        }

        status = nwrt_radio_test_init((uint8_t)nwrt_shadow_common.band_idx,
                                      nwrt_shadow_common.channel);
        if (status != NRF_WIFI_STATUS_SUCCESS)
        {
            return NWRT_SHADOW_ERR_IO;
        }
    }

    return 0;
}

static int32_t shadow_dispatch_tx(uint32_t pending)
{
    int32_t                  result = 0;
    struct rpu_conf_params * conf   = nwrt_conf_params();

    if (pending & NWRT_TX_PENDING_APPLY)
    {
        shadow_apply_tx(conf);
    }

    if (pending & NWRT_TX_PENDING_PROG)
    {
        result = shadow_do_prog_tx(nwrt_shadow_tx.enable_tx);
        if (result != 0)
        {
            return result;
        }
    }

    if (pending & NWRT_TX_PENDING_TONE)
    {
        result = shadow_do_tx_tone(nwrt_shadow_tx.tx_tone);
        if (result != 0)
        {
            return result;
        }
    }

    return 0;
}

static int32_t shadow_dispatch_rx(uint32_t pending)
{
    enum nrf_wifi_status status;
    int32_t              result = 0;

    if (pending & NWRT_RX_PENDING_APPLY)
    {
        shadow_apply_rx(nwrt_conf_params());
    }

    if (pending & NWRT_RX_PENDING_PROG)
    {
        result = shadow_do_prog_rx(nwrt_shadow_rx.enable_rx);
        if (result != 0)
        {
            return result;
        }
    }

    if (pending & NWRT_RX_PENDING_STATS)
    {
        status = nwrt_wifi_rt_fmac_stats_get(nwrt_fmac_dev_ctx(), RPU_OP_MODE_RADIO_TEST,
                                             &nwrt_shadow_stats);
        if (status != NRF_WIFI_STATUS_SUCCESS)
        {
            return NWRT_SHADOW_ERR_IO;
        }
    }

    if (pending & NWRT_RX_PENDING_RX_CAP)
    {
        result = shadow_do_rx_cap();
        if (result != 0)
        {
            return result;
        }
    }

    return 0;
}

void nwrt_shadow_poll(void)
{
    shadow_process_slot(&nwrt_shadow_common.submit, &nwrt_shadow_common.result,
                        &nwrt_shadow_common.ack, &nwrt_shadow_last_common_seq,
                        &nwrt_shadow_active_common_submit, shadow_dispatch_common, true);

    shadow_process_slot(&nwrt_shadow_tx.submit, &nwrt_shadow_tx.result, &nwrt_shadow_tx.ack,
                        &nwrt_shadow_last_tx_seq, &nwrt_shadow_active_tx_submit,
                        shadow_dispatch_tx, true);

    shadow_process_slot(&nwrt_shadow_rx.submit, &nwrt_shadow_rx.result, &nwrt_shadow_rx.ack,
                        &nwrt_shadow_last_rx_seq, &nwrt_shadow_active_rx_submit,
                        shadow_dispatch_rx, true);
}
```
